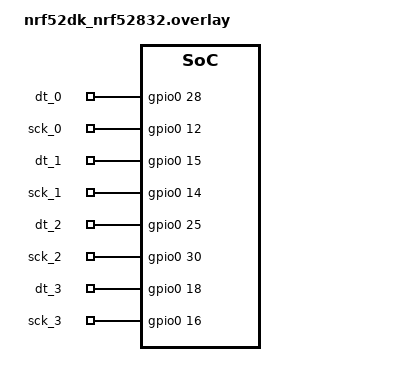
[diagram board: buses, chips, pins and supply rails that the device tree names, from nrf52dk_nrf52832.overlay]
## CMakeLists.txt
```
cmake_minimum_required(VERSION 3.20.0)
find_package(Zephyr REQUIRED HINTS $ENV{ZEPHYR_BASE})

project(VW101)

target_sources(app PRIVATE src/main.c
src/vw101.c)
```

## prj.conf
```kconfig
CONFIG_SERIAL=y
CONFIG_UART_ASYNC_API=y
CONFIG_NRFX_UARTE0=y 
CONFIG_UART_INTERRUPT_DRIVEN=y
CONFIG_UART_CONSOLE=y

CONFIG_USE_SEGGER_RTT=n
CONFIG_RTT_CONSOLE=n

CONFIG_LOG=y
CONFIG_LOG_BACKEND_RTT=n
CONFIG_LOG_BACKEND_UART=y
CONFIG_LOG_DEFAULT_LEVEL=3

CONFIG_BT=y
CONFIG_BT_PERIPHERAL=y
CONFIG_BT_DEVICE_NAME="LOAD_CELL"
CONFIG_BT_NUS=y
CONFIG_BT_NUS_LOG_LEVEL_INF=y
CONFIG_BT_MAX_CONN=1
CONFIG_BT_L2CAP_TX_BUF_COUNT=5

CONFIG_FLASH=y
CONFIG_FLASH_MAP=y
CONFIG_FLASH_PAGE_LAYOUT=y
CONFIG_NVS=y

# Use crystal if available on your board for better BLE stability
CONFIG_CLOCK_CONTROL_NRF_K32SRC_RC=y

CONFIG_BT_USER_PHY_UPDATE=y

# Tuned for 500ms streaming — was 1500ms which caused bursty BLE delivery
CONFIG_BT_PERIPHERAL_PREF_MIN_INT=40
CONFIG_BT_PERIPHERAL_PREF_MAX_INT=80
CONFIG_BT_PERIPHERAL_PREF_LATENCY=0
CONFIG_BT_PERIPHERAL_PREF_TIMEOUT=350

CONFIG_BT_GAP_AUTO_UPDATE_CONN_PARAMS=y

CONFIG_GPIO=y
CONFIG_FPU=y
```

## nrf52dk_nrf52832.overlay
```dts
/ {
        
    hx711_0: hx711_0 {
        compatible = "gpio-keys";
        dt_0: dt_0 {
        gpios  = <&gpio0 28 GPIO_ACTIVE_HIGH>;
        };
        sck_0: sck_0 {
            gpios = <&gpio0 12 GPIO_ACTIVE_HIGH>;
        };
    };

    hx711_1: hx711_1 {
        compatible = "gpio-keys";
        dt_1: dt_1 {
            gpios = <&gpio0 15 GPIO_ACTIVE_HIGH>;
        };
        sck_1: sck_1 {
            gpios = <&gpio0 14 GPIO_ACTIVE_HIGH>;
        };
    };

    hx711_2: hx711_2 {
        compatible = "gpio-keys";
        dt_2: dt_2 {
            gpios = <&gpio0 25 GPIO_ACTIVE_HIGH>;
        };
        sck_2: sck_2 {
            gpios = <&gpio0 30 GPIO_ACTIVE_HIGH>;
        };
    };

    hx711_3: hx711_3 {
        compatible = "gpio-keys";
        dt_3: dt_3 {
            gpios = <&gpio0 18 GPIO_ACTIVE_HIGH>;
        };
        sck_3: sck_3 {
            gpios = <&gpio0 16 GPIO_ACTIVE_HIGH>;
        };
    };
 
};
```

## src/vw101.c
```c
/*
 * vw101.c — VW101 vibrating wire module driver
 *
 * MODBUS RTU, FC03, registers 0x0000 (frequency) and 0x0001 (temperature).
 * Uses Zephyr polling UART API — simple, no ISR, no DMA required.
 *
 * Timing note: the VW101 needs up to 5 s to capture a reading
 * (full frequency scan < 5 s per datasheet). Poll no faster than 2 s.
 */

#include "vw101.h"

#include <zephyr/kernel.h>
#include <zephyr/drivers/uart.h>
#include <zephyr/logging/log.h>
#include <string.h>

LOG_MODULE_REGISTER(vw101, LOG_LEVEL_DBG);

/* ---------------------------------------------------------------
 * Module-level state
 * --------------------------------------------------------------- */
static const struct device *vw101_uart = NULL;

/* Pre-built read request frame (static — never changes) */
static const uint8_t read_req[VW101_TX_LEN] = {
    VW101_SLAVE_ADDR,       /* 0x01 — slave address             */
    MB_FC_READ_HOLDING,     /* 0x03 — function code             */
    0x00, 0x00,             /* start register: 0x0000           */
    0x00, 0x02,             /* quantity: 2 registers            */
    0xC4, 0x0B              /* CRC16 (pre-calculated)           */
};

/* ---------------------------------------------------------------
 * CRC-16/MODBUS
 * Poly: 0xA001 (reflected 0x8005), Init: 0xFFFF
 * --------------------------------------------------------------- */
static uint16_t crc16_modbus(const uint8_t *buf, size_t len)
{
    uint16_t crc = 0xFFFF;

    for (size_t i = 0; i < len; i++) {
        crc ^= (uint16_t)buf[i];
        for (int b = 0; b < 8; b++) {
            if (crc & 0x0001) {
                crc = (crc >> 1) ^ 0xA001;
            } else {
                crc >>= 1;
            }
        }
    }
    return crc;
}

/* ---------------------------------------------------------------
 * UART helpers
 * --------------------------------------------------------------- */

/** Flush any stale bytes sitting in the RX FIFO. */
static void uart_flush_rx(void)
{
    uint8_t dummy;
    while (uart_poll_in(vw101_uart, &dummy) == 0) {
        /* discard */
    }
}

/**
 * Send @p len bytes from @p buf over UART.
 * uart_poll_out blocks until each byte is in the TX FIFO — fine at 9600 baud.
 */
static int uart_send(const uint8_t *buf, size_t len)
{
    for (size_t i = 0; i < len; i++) {
        uart_poll_out(vw101_uart, buf[i]);
    }
    return 0;
}

/**
 * Receive exactly @p len bytes into @p buf within @p timeout_ms milliseconds.
 *
 * Uses busy-polling with k_uptime_get() for timeout tracking.
 * At 9600 baud a single byte takes ~1.04 ms, so polling is fine here.
 */
static int uart_recv(uint8_t *buf, size_t len, uint32_t timeout_ms)
{
    size_t received = 0;
    int64_t deadline = k_uptime_get() + timeout_ms;

    while (received < len) {
        if (k_uptime_get() > deadline) {
            LOG_WRN("RX timeout after %u ms (%zu/%zu bytes)",
                    timeout_ms, received, len);
            return -ETIMEDOUT;
        }
        int ret = uart_poll_in(vw101_uart, &buf[received]);
        if (ret == 0) {
            received++;
        } else {
            /* No byte yet — yield briefly so Zephyr scheduler can run */
            k_sleep(K_MSEC(1));
        }
    }
    return 0;
}

/* ---------------------------------------------------------------
 * Public API
 * --------------------------------------------------------------- */

int vw101_init(const struct device *uart_dev)
{
    if (!device_is_ready(uart_dev)) {
        LOG_ERR("UART device not ready");
        return -ENODEV;
    }
    vw101_uart = uart_dev;
    LOG_INF("VW101 driver initialised on %s", uart_dev->name);
    return 0;
}

vw101_err_t vw101_read(vw101_data_t *out)
{
    if (!vw101_uart || !out) {
        return VW101_ERR_UART;
    }

    uint8_t rx[VW101_RX_LEN];

    /* --- 1. Flush stale RX data, then send request --- */
    uart_flush_rx();

    LOG_DBG("TX: %02X %02X %02X %02X %02X %02X %02X %02X",
            read_req[0], read_req[1], read_req[2], read_req[3],
            read_req[4], read_req[5], read_req[6], read_req[7]);

    uart_send(read_req, VW101_TX_LEN);

    /* --- 2. Receive response --- */
    int ret = uart_recv(rx, VW101_RX_LEN, VW101_RX_TIMEOUT_MS);
    if (ret == -ETIMEDOUT) {
        return VW101_ERR_TIMEOUT;
    }

    LOG_DBG("RX: %02X %02X %02X %02X %02X %02X %02X %02X %02X",
            rx[0], rx[1], rx[2], rx[3],
            rx[4], rx[5], rx[6], rx[7], rx[8]);

    /* --- 3. Validate slave address --- */
    if (rx[0] != VW101_SLAVE_ADDR) {
        LOG_ERR("Slave addr mismatch: got 0x%02X, expected 0x%02X",
                rx[0], VW101_SLAVE_ADDR);
        return VW101_ERR_ADDR;
    }

    /* --- 4. Validate function code --- */
    if (rx[1] != MB_FC_READ_HOLDING) {
        LOG_ERR("Function code mismatch: 0x%02X", rx[1]);
        return VW101_ERR_FUNC;
    }

    /* --- 5. Verify CRC ---
     *  CRC covers bytes 0..6 (addr + fc + byte_cnt + 4 data bytes).
     *  rx[7] = CRC low, rx[8] = CRC high.
     */
    uint16_t crc_calc = crc16_modbus(rx, VW101_RX_LEN - 2);
    uint16_t crc_recv = (uint16_t)rx[7] | ((uint16_t)rx[8] << 8);

    if (crc_calc != crc_recv) {
        LOG_ERR("CRC mismatch: calc=0x%04X, recv=0x%04X",
                crc_calc, crc_recv);
        return VW101_ERR_CRC;
    }

    /* --- 6. Extract register values (big-endian in MODBUS) --- */
    uint16_t raw_freq = ((uint16_t)rx[3] << 8) | rx[4];
    uint16_t raw_temp = ((uint16_t)rx[5] << 8) | rx[6];

    LOG_DBG("raw_freq=0x%04X (%u)  raw_temp=0x%04X (%u)",
            raw_freq, raw_freq, raw_temp, raw_temp);

    /* --- 7. Check frequency sensor status --- */
    if (raw_freq == VW101_RAW_NOT_READ ||
        raw_freq == VW101_RAW_DISCONNECTED ||
        raw_freq == VW101_RAW_BROKEN_WIRE) {

        LOG_WRN("Frequency sensor error: raw=0x%04X", raw_freq);
        out->freq_valid    = false;
        out->frequency_hz  = 0.0f;
    } else {
        out->freq_valid   = true;
        out->frequency_hz = (float)raw_freq / 10.0f;
    }

    /* --- 8. Decode temperature ---
     * Formula from datasheet: T(°C) = (raw − 500) / 10
     * raw = 0xFFFF means NTC sensor not connected.
     */
    if (raw_temp == VW101_RAW_DISCONNECTED) {
        LOG_WRN("Temperature sensor disconnected");
        out->temp_valid    = false;
        out->temperature_c = 0.0f;
    } else {
        out->temp_valid    = true;
        /* raw is unsigned but result can be negative, cast first */
        out->temperature_c = ((float)(int16_t)raw_temp - 500.0f) / 10.0f;
    }

    return VW101_OK;
}
```

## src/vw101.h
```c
#ifndef VW101_H
#define VW101_H

#include <zephyr/kernel.h>
#include <zephyr/device.h>
#include <stdint.h>
#include <stdbool.h>

/* ---------------------------------------------------------------
 * VW101 — Single-channel vibrating wire acquisition module
 * Protocol : MODBUS RTU over 3.3 V TTL UART
 * Baud     : 9600, 8N1
 * Default slave address: 0x01
 * --------------------------------------------------------------- */

/* Slave address (factory default; change if reconfigured) */
#define VW101_SLAVE_ADDR        0x01

/* MODBUS function codes used */
#define MB_FC_READ_HOLDING      0x03
#define MB_FC_WRITE_SINGLE      0x06

/* Register map */
#define VW101_REG_FREQUENCY     0x0000  /* R  — raw ÷ 10 = Hz          */
#define VW101_REG_TEMPERATURE   0x0001  /* R  — (raw − 500) ÷ 10 = °C  */

/* Special raw return values */
#define VW101_RAW_NOT_READ      0x0000  /* value not yet captured       */
#define VW101_RAW_DISCONNECTED  0xFFFF  /* sensor wire disconnected     */
#define VW101_RAW_BROKEN_WIRE   0xFFF3  /* broken wire / CRC error      */

/* RX frame size for FC03 reading 2 registers:
 *  addr(1) + fc(1) + byte_cnt(1) + data(4) + crc(2) = 9 bytes */
#define VW101_RX_LEN            9

/* TX frame for reading both registers in one shot:
 *  01 03 00 00 00 02 C4 0B */
#define VW101_TX_LEN            8

/* Receive timeout — datasheet says data return time 1-5 s;
 * we wait up to 3 s before declaring a timeout.             */
#define VW101_RX_TIMEOUT_MS     3000

/* ---------------------------------------------------------------
 * Result structure
 * --------------------------------------------------------------- */
typedef struct {
    float frequency_hz;     /* vibrating wire frequency, Hz          */
    float temperature_c;    /* temperature in °C                     */
    bool  freq_valid;       /* false if disconnected / not read      */
    bool  temp_valid;       /* false if NTC disconnected             */
} vw101_data_t;

/* ---------------------------------------------------------------
 * Error codes
 * --------------------------------------------------------------- */
typedef enum {
    VW101_OK            =  0,
    VW101_ERR_UART      = -1,   /* UART send/receive failure          */
    VW101_ERR_TIMEOUT   = -2,   /* no response within timeout         */
    VW101_ERR_CRC       = -3,   /* CRC mismatch in response           */
    VW101_ERR_ADDR      = -4,   /* response slave address mismatch    */
    VW101_ERR_FUNC      = -5,   /* response function code mismatch    */
} vw101_err_t;

/* ---------------------------------------------------------------
 * Public API
 * --------------------------------------------------------------- */

/**
 * @brief  Initialise the VW101 driver (configures the UART device).
 * @param  uart_dev  Pointer to the Zephyr UART device (from DT).
 * @return 0 on success, negative errno on failure.
 */
int vw101_init(const struct device *uart_dev);

/**
 * @brief  Read frequency and temperature from the VW101.
 * @param  out  Pointer to result structure populated on success.
 * @return vw101_err_t code.
 */
vw101_err_t vw101_read(vw101_data_t *out);

#endif /* VW101_H */
```
